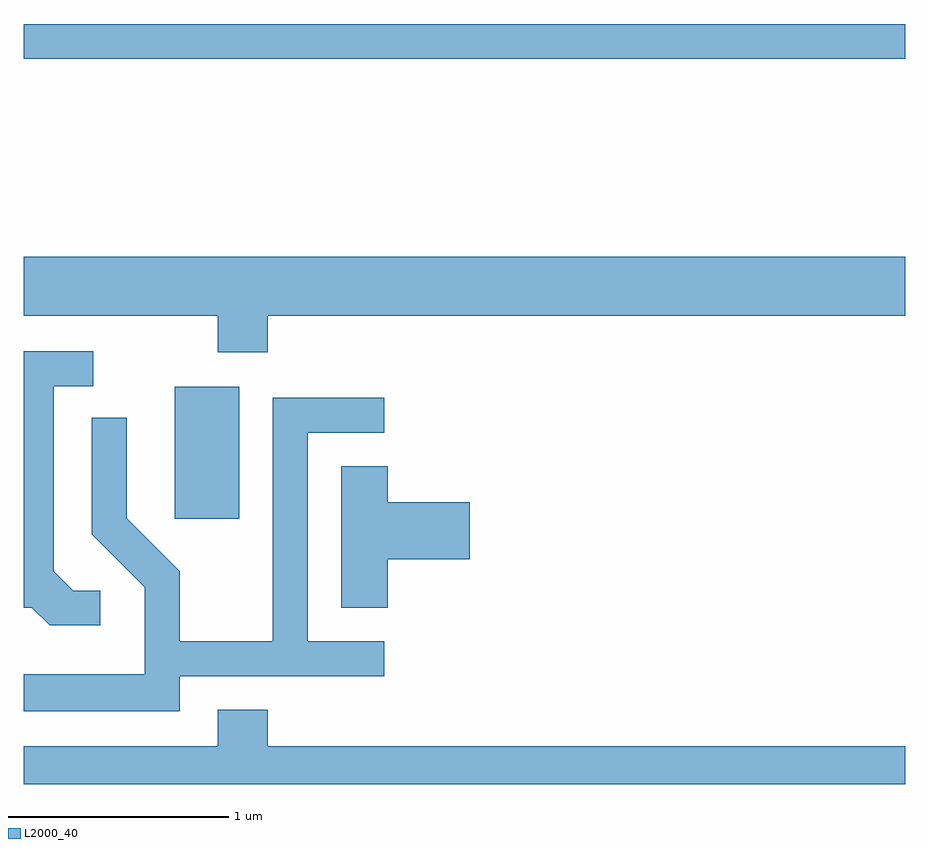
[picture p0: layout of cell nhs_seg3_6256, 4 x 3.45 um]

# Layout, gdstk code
import gdstk
lib = gdstk.Library(unit=1e-6, precision=1e-09)
def R(c, l, rs):  # rectangles x0, y0, x1, y1
    for r in rs: c.add(gdstk.rectangle(r[:2], r[2:], *l))
def P(c, l, *ps):  # polygons
    for p in ps: c.add(gdstk.Polygon(p, *l))
L2000_40 = (2000, 40)

nhs_seg3_6256 = lib.new_cell('nhs_seg3_6256')
R(nhs_seg3_6256, L2000_40, [(370.296,1125.096,370.589,1125.694), (369.611,1127.181,373.611,1127.339)])
P(nhs_seg3_6256, L2000_40, [(370.719,1126.016),(373.611,1126.016),(373.611,1126.284),(369.611,1126.284),(369.611,1126.016),(370.491,1126.016),(370.491,1125.851),(370.719,1125.851)],
  [(369.958,1124.769),(369.837,1124.769),(369.749,1124.857),(369.749,1125.696),(369.928,1125.696),(369.928,1125.854),(369.611,1125.854),(369.611,1124.691),(369.649,1124.691),(369.729,1124.611),(369.958,1124.611)],
  [(370.319,1124.381),(371.248,1124.381),(371.248,1124.539),(370.899,1124.539),(370.899,1125.486),(371.248,1125.486),(371.248,1125.644),(370.741,1125.644),(370.741,1124.539),(370.319,1124.539),(370.319,1124.857),(370.079,1125.097),(370.079,1125.553),(369.921,1125.553),(369.921,1125.024),(370.161,1124.784),(370.161,1124.389),(369.611,1124.389),(369.611,1124.221),(370.319,1124.221)],
  [(371.264,1124.911),(371.634,1124.911),(371.634,1125.169),(371.264,1125.169),(371.264,1125.334),(371.051,1125.334),(371.051,1124.691),(371.264,1124.691)],
  [(373.611,1124.064),(370.719,1124.064),(370.719,1124.229),(370.491,1124.229),(370.491,1124.064),(369.611,1124.064),(369.611,1123.892),(373.611,1123.892)])

lib.write_gds('nhs_seg3_6256.gds')
